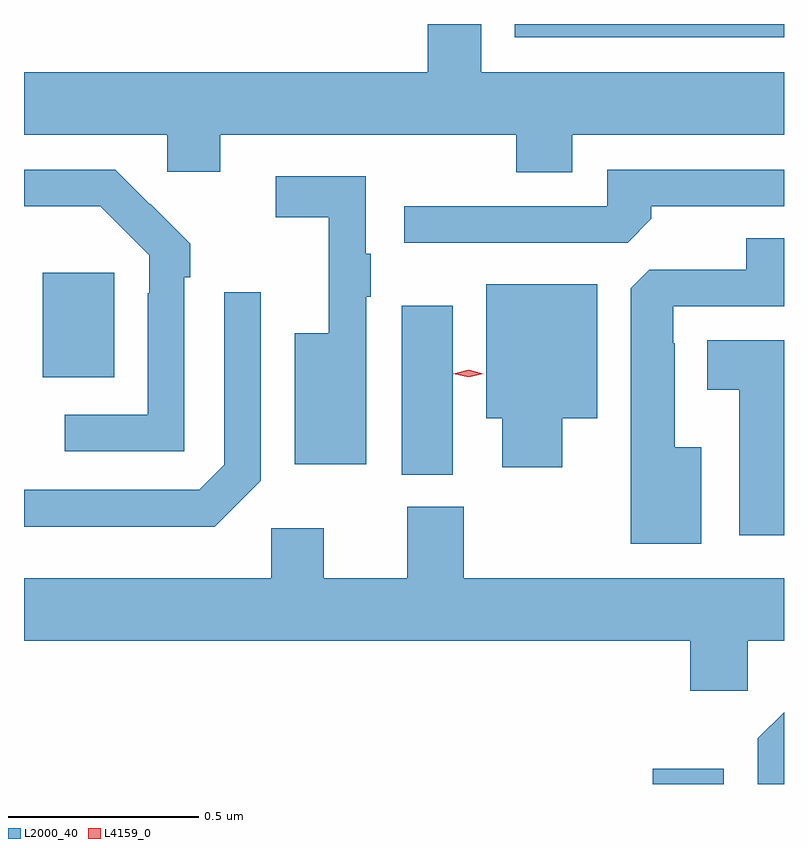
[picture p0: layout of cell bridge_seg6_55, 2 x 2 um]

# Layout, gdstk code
import gdstk
lib = gdstk.Library(unit=1e-6, precision=1e-09)
def R(c, l, rs):  # rectangles x0, y0, x1, y1
    for r in rs: c.add(gdstk.rectangle(r[:2], r[2:], *l))
def P(c, l, *ps):  # polygons
    for p in ps: c.add(gdstk.Polygon(p, *l))
L2000_40 = (2000, 40)
L4159_0 = (4159, 0)

bridge_seg6_55 = lib.new_cell('bridge_seg6_55')
R(bridge_seg6_55, L2000_40, [(1091.54,980.259,1091.728,980.299), (1090.88,981.073,1091.014,981.517), (1089.935,981.329,1090.123,981.604), (1091.178,982.224,1091.886,982.259)])
P(bridge_seg6_55, L2000_40, [(1091.329,981.968),(1091.886,981.968),(1091.886,982.132),(1091.089,982.132),(1091.089,982.259),(1090.949,982.259),(1090.949,982.132),(1089.886,982.132),(1089.886,981.968),(1090.263,981.968),(1090.263,981.87),(1090.402,981.87),(1090.402,981.968),(1091.182,981.968),(1091.182,981.869),(1091.329,981.869)],
  [(1090.308,981.593),(1090.323,981.593),(1090.323,981.681),(1090.218,981.786),(1090.217,981.785),(1090.126,981.876),(1089.886,981.876),(1089.886,981.78),(1090.087,981.78),(1090.215,981.651),(1090.215,981.551),(1090.212,981.551),(1090.212,981.231),(1089.993,981.231),(1089.993,981.135),(1090.308,981.135)],
  [(1091.537,981.746),(1091.537,981.78),(1091.886,981.78),(1091.886,981.876),(1091.421,981.876),(1091.421,981.78),(1090.887,981.78),(1090.887,981.684),(1091.475,981.684)],
  [(1090.786,981.541),(1090.798,981.541),(1090.798,981.655),(1090.785,981.655),(1090.785,981.858),(1090.548,981.858),(1090.548,981.75),(1090.688,981.75),(1090.688,981.445),(1090.598,981.445),(1090.598,981.101),(1090.786,981.101)],
  [(1091.668,981.145),(1091.599,981.145),(1091.599,981.419),(1091.595,981.419),(1091.595,981.516),(1091.886,981.516),(1091.886,981.695),(1091.786,981.695),(1091.786,981.612),(1091.532,981.612),(1091.483,981.563),(1091.483,980.891),(1091.668,980.891)],
  [(1091.302,981.221),(1091.395,981.221),(1091.395,981.574),(1091.102,981.574),(1091.102,981.221),(1091.144,981.221),(1091.144,981.093),(1091.302,981.093)],
  [(1090.509,981.057),(1090.509,981.553),(1090.413,981.553),(1090.413,981.099),(1090.347,981.033),(1089.886,981.033),(1089.886,980.936),(1090.388,980.936)],
  [(1091.886,981.427),(1091.684,981.427),(1091.684,981.296),(1091.768,981.296),(1091.768,980.913),(1091.886,980.913)],
  [(1091.79,980.636),(1091.886,980.636),(1091.886,980.8),(1091.043,980.8),(1091.043,980.988),(1090.895,980.988),(1090.895,980.8),(1090.675,980.8),(1090.675,980.932),(1090.536,980.932),(1090.536,980.8),(1089.886,980.8),(1089.886,980.636),(1091.639,980.636),(1091.639,980.505),(1091.79,980.505)],
  [(1091.886,980.448),(1091.817,980.379),(1091.817,980.259),(1091.886,980.259)])
P(bridge_seg6_55, L4159_0, [(1091.056,981.329),(1091.016,981.339),(1091.016,981.339),(1091.016,981.339),(1091.056,981.349),(1091.095,981.339),(1091.095,981.339),(1091.095,981.339)])

lib.write_gds('bridge_seg6_55.gds')
